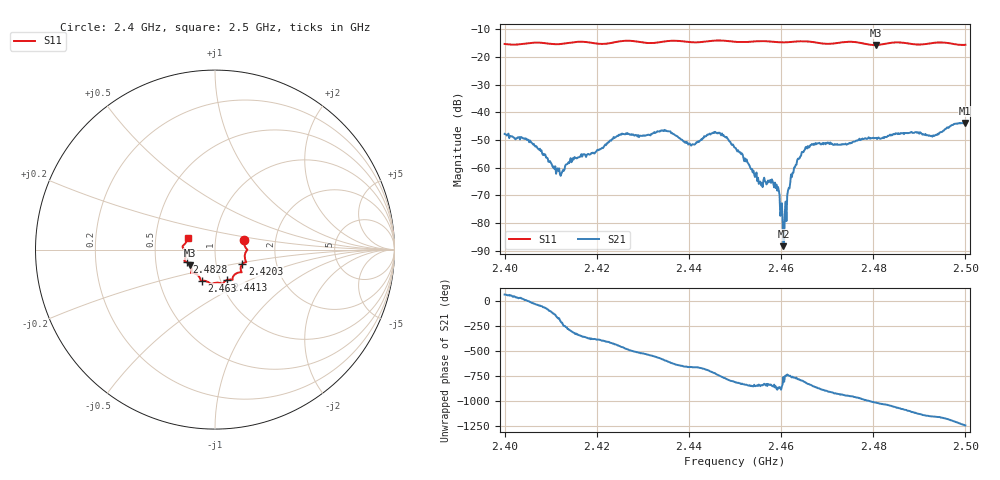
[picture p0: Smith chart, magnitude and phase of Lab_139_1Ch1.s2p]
# Hz S RI R 50
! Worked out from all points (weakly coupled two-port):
!   601 points, 2.4 GHz to 2.5 GHz, reference 50 ohm
!   highest |S21| = -43.82 dB at 2.4998 GHz (marker M1); lowest = -88.3 dB at 2.4605 GHz (marker M2)
!   lowest |S11| = -15.7 dB at 2.4805 GHz (marker M3), VSWR 1.39, Z = 37.3 - j6.67 ohm
!   |S11| at or under -10 dB: start of sweep to end of sweep
!   S12 and S22 are empty: the file has one direction only
!   S11 on the Smith chart (normalised r, x): 2.4 GHz: 1.38, +0.15; 2.4203 GHz: 1.34, -0.22; 2.4413 GHz: 1.08, -0.38; 2.463 GHz: 0.82, -0.29; 2.4828 GHz: 0.72, -0.10; 2.5 GHz: 0.73, +0.10
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2.4e9  0.1625 0.0523  0.00191 0.0036  0 0  0 0
2.4055e9  0.178 0.00231  0.00303 -0.00064  0 0  0 0
2.411667e9  0.166 -0.0327  -0.000877 -3.68e-05  0 0  0 0
2.416667e9  0.1738 -0.0696  0.00173 0.000285  0 0  0 0
2.420333e9  0.1526 -0.0799  0.00183 -0.000964  0 0  0 0
2.425333e9  0.1472 -0.1232  -0.000727 -0.00389  0 0  0 0
2.433333e9  0.1004 -0.1517  -0.00395 0.00216  0 0  0 0
2.441333e9  0.0674 -0.1696  0.00147 0.0022  0 0  0 0
2.446167e9  0.0419 -0.1929  0.00396 -0.00124  0 0  0 0
2.45e9  0.0247 -0.1853  -3.26e-05 -0.00229  0 0  0 0
2.4555e9  -0.0187 -0.1914  -0.000378 -0.000415  0 0  0 0
2.4585e9  -0.0339 -0.1831  -0.000199 -0.000393  0 0  0 0
2.4605e9  -0.051 -0.1752  2.9e-05 -2.51e-05  0 0  0 0
2.460833e9  -0.0544 -0.1743  0.000136 -8.68e-05  0 0  0 0
2.463e9  -0.0721 -0.1735  0.000683 -0.000751  0 0  0 0
2.466667e9  -0.0812 -0.1673  -0.00153 -0.00219  0 0  0 0
2.4805e9  -0.1382 -0.0869  0.00148 0.0031  0 0  0 0
2.482833e9  -0.1587 -0.0702  0.00263 0.00239  0 0  0 0
2.483333e9  -0.1625 -0.0685  0.00297 0.0023  0 0  0 0
2.493e9  -0.178 0.00982  0.000991 -0.00371  0 0  0 0
2.499833e9  -0.1523 0.0617  -0.00611 -0.00205  0 0  0 0
2.5e9  -0.152 0.0639  -0.00611 -0.00171  0 0  0 0
